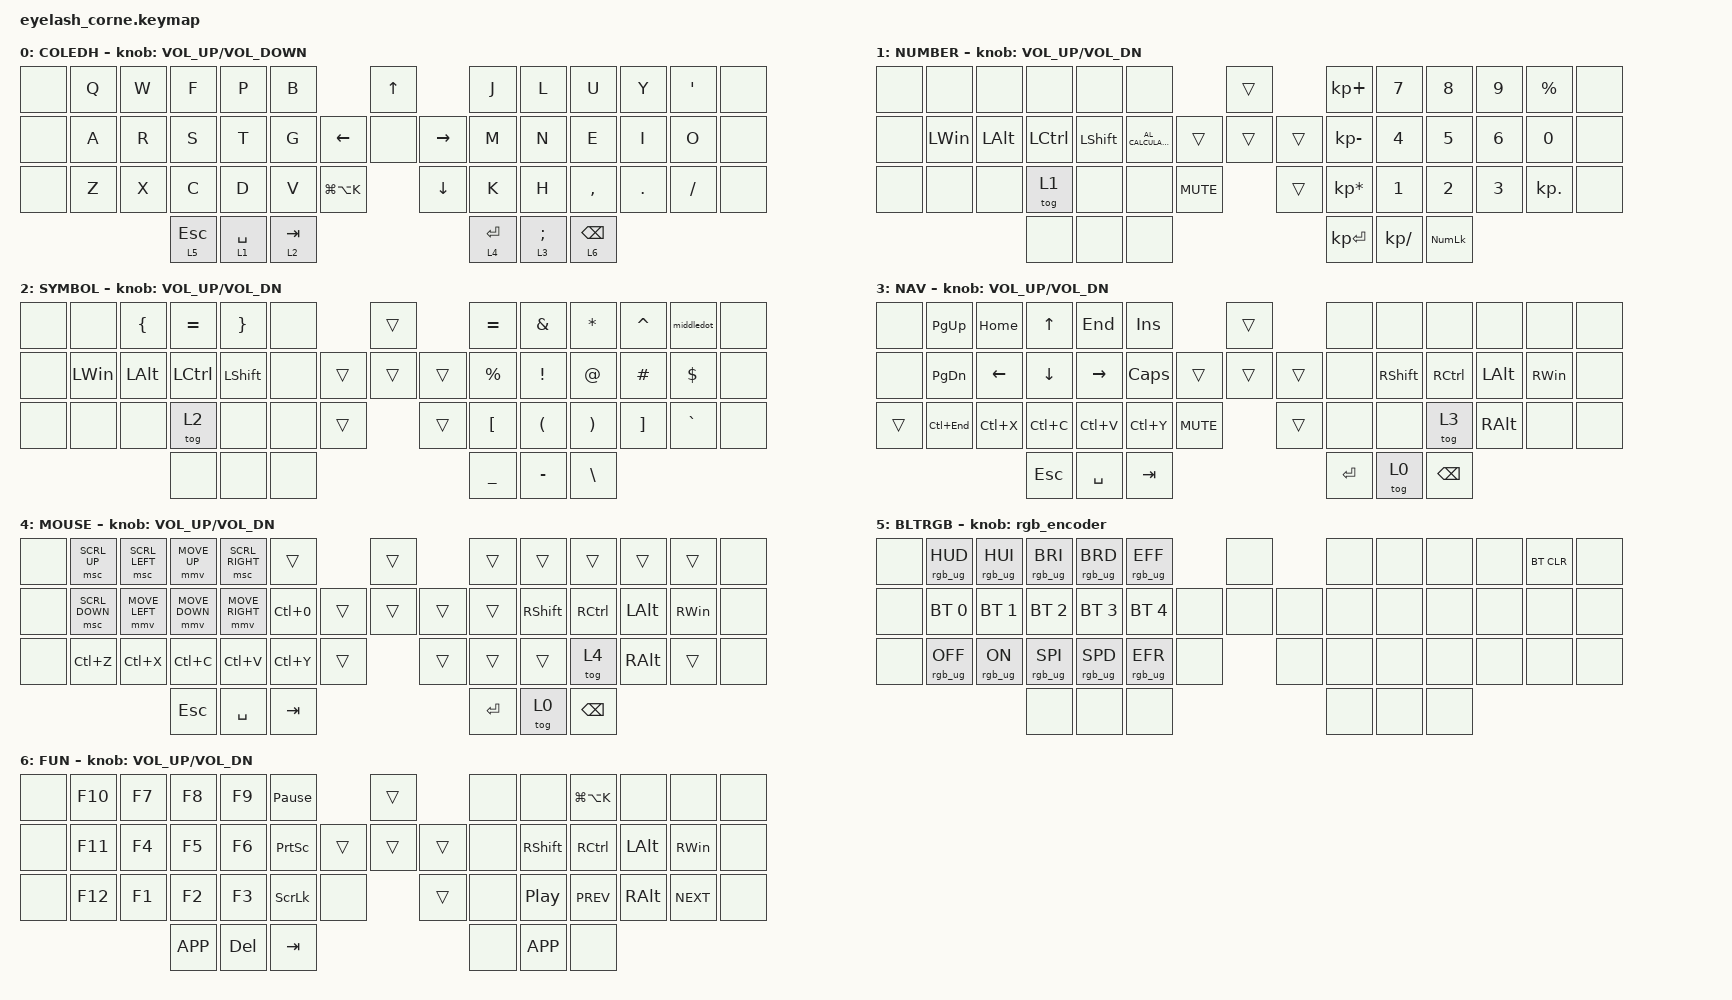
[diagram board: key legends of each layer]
#include <behaviors/num_word.dtsi> // urob's num word from zkm auto layer
#include <dt-bindings/zmk/mouse.h>
#include <input/processors.dtsi>

#define ZMK_POINTING_DEFAULT_MOVE_VAL 1800  // 600, 1200
#define ZMK_MOUSE_DEFAULT_SCRL_VAL 20    // 10

#include <behaviors.dtsi>
#include <dt-bindings/zmk/bt.h>
#include <dt-bindings/zmk/keys.h>
#include <dt-bindings/zmk/pointing.h>
#include <dt-bindings/zmk/pointing.h>
#include <dt-bindings/zmk/rgb.h>

/ {
    behaviors {
        mmv {
            acceleration-exponent = <2>;      // 1
            time-to-max-speed-ms = <40>;    // 40
            delay-ms = <0>;                   // 0
        };

        shiftnextcaps: shiftnextcaps {
            compatible = "zmk,behavior-tap-dance";
            display-name = "Shift/Caps Lock Tap Dance";
            #binding-cells = <0>;
            bindings = <&sk RIGHT_SHIFT>, <&kp CAPS>;

            label = "shiftnextcaps";
        };

        hml: hml {
            compatible = "zmk,behavior-hold-tap";
            label = "HML";
            bindings = <&kp>, <&kp>;

            #binding-cells = <2>;
            tapping-term-ms = <165>;
            quick-tap-ms = <0>;
            flavor = "tap-preferred";
            hold-trigger-key-positions = <14 15 16 17 23 24 25 26>;
            require-prior-idle-ms = <20>;
        };

        sk_mo: sk_mo {
            compatible = "zmk,behavior-hold-tap";
            label = "SK_MO";
            bindings = <&mo>, <&sk>;

            #binding-cells = <2>;
            tapping-term-ms = <150>;
            flavor = "tap-preferred";
        };

        sl_mo: sl_mo {
            compatible = "zmk,behavior-hold-tap";
            label = "SL_MO";
            bindings = <&mo>, <&sl>;

            #binding-cells = <2>;
            tapping-term-ms = <160>;
            flavor = "tap-preferred";
        };

        num_word: num_word {
            compatible = "zmk,behavior-auto-layer";
            #binding-cells = <1>;
            continue-list = <BSPC DEL KP_DOT DOT COMMA KP_PLUS PLUS KP_MINUS MINUS KP_MULTIPLY STAR KP_DIVIDE FSLH EQUAL>;
            ignore-numbers;
        };

        smart_num: smart_num {
            compatible = "zmk,behavior-hold-tap";
            label = "SMART_NUM";
            bindings = <&mo>, <&num_word>;

            #binding-cells = <2>;
            tapping-term-ms = <150>;
            flavor = "tap-preferred";
            hold-trigger-key-positions = <43>;
        };

        sk_kp: sk_kp {
            compatible = "zmk,behavior-hold-tap";
            label = "SK_KP";
            bindings = <&kp>, <&sk>;

            #binding-cells = <2>;
            tapping-term-ms = <160>;
            flavor = "balanced";
            hold-trigger-key-positions = <28>;
        };
    };

    rgb_encoder: rgb_encoder {
        compatible = "zmk,behavior-sensor-rotate";
        #sensor-binding-cells = <0>;
        bindings = <&rgb_ug RGB_BRI>, <&rgb_ug RGB_BRD>;
    };

    scroll_encoder: scroll_encoder {
        compatible = "zmk,behavior-sensor-rotate";
        #sensor-binding-cells = <0>;
        bindings = <&msc SCRL_DOWN>, <&msc SCRL_UP>;

        tap-ms = <30>;
    };

    combos {
        compatible = "zmk,combos";

        cmb_del {
            bindings = <&kp DEL>;
            key-positions = <24 25>;
        };

        smartcaps {
            bindings = <&caps_word>;
            key-positions = <16 17>;
            layers = <0>;
        };

        togbase {
            bindings = <&tog 0>;
            key-positions = <44 45>;
        };

        langswitch {
            bindings = <&kp LG(SPACE)>;
            key-positions = <3 9>;
        };
    };

    macros {
        middledot: middledot {
            compatible = "zmk,behavior-macro";
            #binding-cells = <0>;
            bindings =
                <&macro_press>,
                <&kp LEFT_ALT>,
                <&macro_tap>,
                <&kp KP_N0 &kp KP_N1 &kp KP_N8 &kp KP_N3>,
                <&macro_release>,
                <&kp LEFT_ALT>;

            label = "MIDDLEDOT";
        };
    };

    keymap {
        compatible = "zmk,keymap";

        base {
            display-name = "COLEDH";
            bindings = <
&none  &kp Q  &kp W  &kp F      &kp P        &kp B                                 &kp UP               &kp J        &kp L            &kp U            &kp Y       &kp SQT    &none
&none  &kp A  &kp R  &kp S      &kp T        &kp G                       &kp LEFT  &none     &kp RIGHT  &kp M        &kp N            &kp E            &kp I       &kp O      &none
&none  &kp Z  &kp X  &kp C      &kp D        &kp V      &kp LG(LA(K))              &kp DOWN             &kp K        &kp H            &kp COMMA        &kp PERIOD  &kp SLASH  &none
                     &lt 5 ESC  &lt 1 SPACE  &lt 2 TAB                                                  &lt 4 ENTER  &lt 3 SEMICOLON  &lt 6 BACKSPACE
            >;

            sensor-bindings = <&inc_dec_kp C_VOLUME_UP C_VOLUME_DOWN>;
            label = "COLEDH";
        };

        num {
            display-name = "NUMBER";
            bindings = <
&none  &none         &none         &none      &none           &none                                      &trans          &kp KP_PLUS      &kp N7        &kp N8          &kp N9  &kp PERCENT  &none
&none  &kp LEFT_WIN  &kp LEFT_ALT  &kp LCTRL  &kp LEFT_SHIFT  &kp C_AL_CALCULATOR                &trans  &trans  &trans  &kp KP_MINUS     &kp N4        &kp N5          &kp N6  &kp N0       &none
&none  &none         &none         &tog 1     &none           &none                &kp C_MUTE            &trans          &kp KP_MULTIPLY  &kp N1        &kp N2          &kp N3  &kp KP_DOT   &none
                                   &none      &none           &none                                                      &kp KP_ENTER     &kp KP_SLASH  &kp KP_NUMLOCK
            >;

            sensor-bindings = <&inc_dec_kp C_VOL_UP C_VOL_DN>;
            label = "NUMBER";
        };

        sym {
            display-name = "SYMBOL";
            bindings = <
&none  &none         &kp LEFT_BRACE  &kp EQUAL  &kp RIGHT_BRACE  &none                    &trans          &kp EQUAL         &kp AMPERSAND         &kp STAR               &kp CARET          &middledot  &none
&none  &kp LEFT_WIN  &kp LEFT_ALT    &kp LCTRL  &kp LEFT_SHIFT   &none            &trans  &trans  &trans  &kp PERCENT       &kp EXCLAMATION       &kp AT_SIGN            &kp HASH           &kp DOLLAR  &none
&none  &none         &none           &tog 2     &none            &none  &trans            &trans          &kp LEFT_BRACKET  &kp LEFT_PARENTHESIS  &kp RIGHT_PARENTHESIS  &kp RIGHT_BRACKET  &kp GRAVE   &none
                                     &none      &none            &none                                    &kp UNDERSCORE    &kp MINUS             &kp BACKSLASH
            >;

            sensor-bindings = <&inc_dec_kp C_VOL_UP C_VOL_DN>;
            label = "SYMBOL";
        };

        nav {
            display-name = "NAV";
            bindings = <
&none   &kp PG_UP    &kp HOME   &kp UP     &kp END    &kp INS                          &trans          &none      &none            &none          &none          &none          &none
&none   &kp PG_DN    &kp LEFT   &kp DOWN   &kp RIGHT  &kp CAPS                 &trans  &trans  &trans  &none      &kp RIGHT_SHIFT  &kp RCTRL      &kp LEFT_ALT   &kp RIGHT_WIN  &none
&trans  &kp LC(END)  &kp LC(X)  &kp LC(C)  &kp LC(V)  &kp LC(Y)  &kp C_MUTE            &trans          &none      &none            &tog 3         &kp RIGHT_ALT  &none          &none
                                &kp ESC    &kp SPACE  &kp TAB                                          &kp ENTER  &tog 0           &kp BACKSPACE
            >;

            sensor-bindings = <&inc_dec_kp C_VOL_UP C_VOL_DN>;
            label = "NAV";
        };

        mse {
            bindings = <
&none  &msc SCRL_UP    &msc SCRL_LEFT  &mmv MOVE_UP    &msc SCRL_RIGHT  &trans                        &trans          &trans     &trans           &trans         &trans         &trans         &none
&none  &msc SCRL_DOWN  &mmv MOVE_LEFT  &mmv MOVE_DOWN  &mmv MOVE_RIGHT  &kp LC(N0)            &trans  &trans  &trans  &trans     &kp RIGHT_SHIFT  &kp RCTRL      &kp LEFT_ALT   &kp RIGHT_WIN  &none
&none  &kp LC(Z)       &kp LC(X)       &kp LC(C)       &kp LC(V)        &kp LC(Y)   &trans            &trans          &trans     &trans           &tog 4         &kp RIGHT_ALT  &trans         &none
                                       &kp ESC         &kp SPACE        &kp TAB                                       &kp ENTER  &tog 0           &kp BACKSPACE
            >;

            label = "MOUSE";
            sensor-bindings = <&inc_dec_kp C_VOL_UP C_VOL_DN>;
        };

        blt {
            bindings = <
&none  &rgb_ug RGB_HUD  &rgb_ug RGB_HUI  &rgb_ug RGB_BRI  &rgb_ug RGB_BRD  &rgb_ug RGB_EFF                  &none         &none  &none  &none  &none  &bt BT_CLR  &none
&none  &bt BT_SEL 0     &bt BT_SEL 1     &bt BT_SEL 2     &bt BT_SEL 3     &bt BT_SEL 4              &none  &none  &none  &none  &none  &none  &none  &none       &none
&none  &rgb_ug RGB_OFF  &rgb_ug RGB_ON   &rgb_ug RGB_SPI  &rgb_ug RGB_SPD  &rgb_ug RGB_EFR  &none           &none         &none  &none  &none  &none  &none       &none
                                         &none            &none            &none                                          &none  &none  &none
            >;

            label = "BLTRGB";
            sensor-bindings = <&rgb_encoder>;
        };

        fun {
            bindings = <
&none  &kp F10  &kp F7  &kp F8     &kp F9   &kp PAUSE_BREAK                   &trans          &none  &none            &kp LG(LA(K))  &none          &none          &none
&none  &kp F11  &kp F4  &kp F5     &kp F6   &kp PRINTSCREEN           &trans  &trans  &trans  &none  &kp RIGHT_SHIFT  &kp RCTRL      &kp LEFT_ALT   &kp RIGHT_WIN  &none
&none  &kp F12  &kp F1  &kp F2     &kp F3   &kp SCROLLLOCK   &none            &trans          &none  &kp C_PP         &kp C_PREV     &kp RIGHT_ALT  &kp C_NEXT     &none
                        &kp K_APP  &kp DEL  &kp TAB                                           &none  &kp K_APP        &none
            >;

            label = "FUN";
            sensor-bindings = <&inc_dec_kp C_VOL_UP C_VOL_DN>;
        };
    };
};
